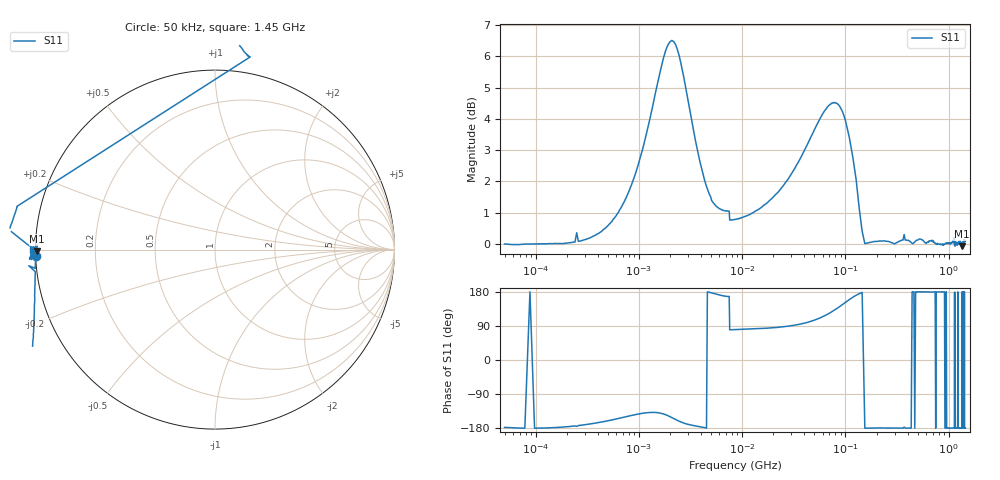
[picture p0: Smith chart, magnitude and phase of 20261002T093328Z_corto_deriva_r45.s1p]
! piloto_deriva / corto_deriva / r45
# HZ S RI R 50
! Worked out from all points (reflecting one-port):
!   501 points, 50 kHz to 1.45 GHz, reference 50 ohm
!   lowest |S11| = -0.1 dB at 1.337 GHz (marker M1), VSWR 225.14, Z = 0.222 - j0.216 ohm
!   phase of S11 starts at -178 deg and turns -2 deg over the sweep
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50000  -0.9985 -0.0377
183000  -0.9988 -0.0526
363500  -1.004 -0.2256
658000  -1.015 -0.511
1180000  -1.136 -0.9786
1630000  -1.472 -1.212
1990000  -1.81 -1.075
2170000  -1.9 -0.9123
2440000  -1.901 -0.6415
3070000  -1.633 -0.2703
4330000  -1.262 -0.0297
7300000  -1.102 0.2422
7750000  0.194 1.074
8560000  0.1868 1.078
1.99e7  0.1013 1.182
3.16e7  -0.0348 1.311
4.78e7  -0.3448 1.458
6.76e7  -0.8611 1.418
7.93e7  -1.139 1.239
9.37e7  -1.355 0.8994
9.82e7  -1.385 0.7836
1e8  -1.39 0.7377
1.18e8  -1.332 0.3374
1.36e8  -1.134 0.0996
1.63e8  -1.003 -0.00347
4.06e8  -1.013 -0.00488
1.3375e9  -0.9911 -0.00855
1.45e9  -1.012 -0.00478
